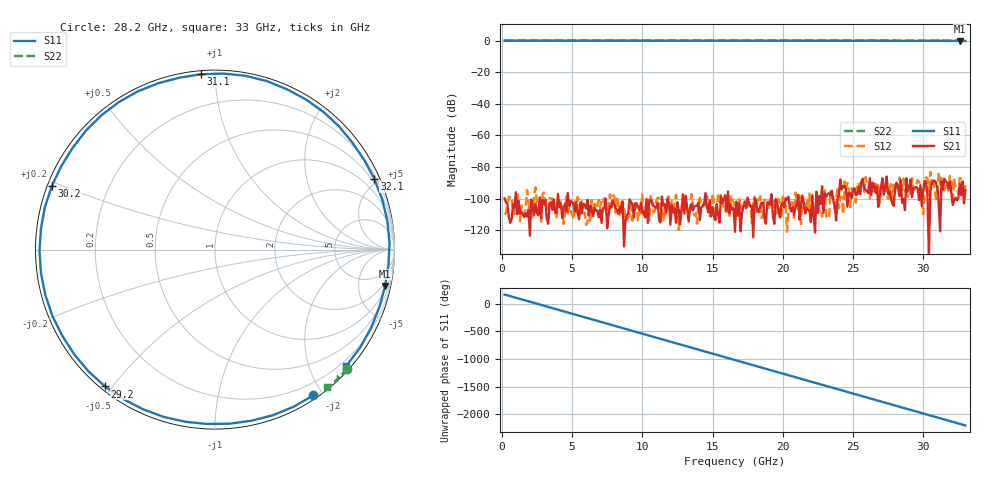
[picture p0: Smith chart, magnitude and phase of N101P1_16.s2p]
# GHZ S RI R 50
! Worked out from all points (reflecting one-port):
!   329 points, 200 MHz to 33 GHz, reference 50 ohm
!   lowest |S11| = -0.3 dB at 32.6 GHz (marker M1), VSWR 63.88, Z = 69.7 - j464 ohm
!   phase of S11 starts at 165 deg and turns -2367 deg over the sweep
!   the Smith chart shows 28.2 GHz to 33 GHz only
!   S11 on the Smith chart (normalised r, x): 28.2 GHz: 0.05, -1.88; 29.2 GHz: 0.01, -0.48; 30.2 GHz: 0.01, +0.19; 31.1 GHz: 0.02, +0.92; 32.1 GHz: 0.33, +4.69; 33 GHz: 0.09, -2.64
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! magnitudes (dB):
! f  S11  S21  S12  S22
! 200 MHz  0.0  -99.7  -110.2  0.0
! 5.7 GHz  -0.1  -109.1  -101.5  0.0
! 9.1 GHz  -0.1  -100.4  -110.8  0.0
! 11.2 GHz  -0.1  -113.6  -99.8  0.0
! 16.6 GHz  -0.1  -120.9  -104.9  0.0
! 22.1 GHz  -0.2  -98.2  -97.5  0.0
! 22.6 GHz  -0.2  -98.2  -107.8  0.0
! 23.4 GHz  -0.2  -98.1  -95.4  0.0
! 23.9 GHz  0.0  -100.0  -92.8  0.0
! 24.3 GHz  -0.2  -92.0  -109.6  0.0
! 25.1 GHz  -0.2  -93.4  -96.2  0.0
! 25.6 GHz  0.0  -88.8  -89.7  0.0
! 27.6 GHz  -0.1  -95.1  -94.9  0.0
! 28.2 GHz  -0.2  -92.1  -90.9  -0.1
! 28.7 GHz  -0.2  -107.2  -95.1  -0.1
! 29.2 GHz  -0.2  -99.1  -86.9  -0.1
! 30.2 GHz  -0.2  -89.3  -86.4  -0.2
! 31.1 GHz  -0.2  -103.0  -83.3  0.0
! 31.7 GHz  -0.2  -90.1  -90.3  -0.1
! 32.1 GHz  -0.3  -103.9  -103.3  0.0
! 32.6 GHz  -0.3  -90.7  -86.9  0.0
! 33 GHz  -0.2  -94.5  -91.3  -0.1
